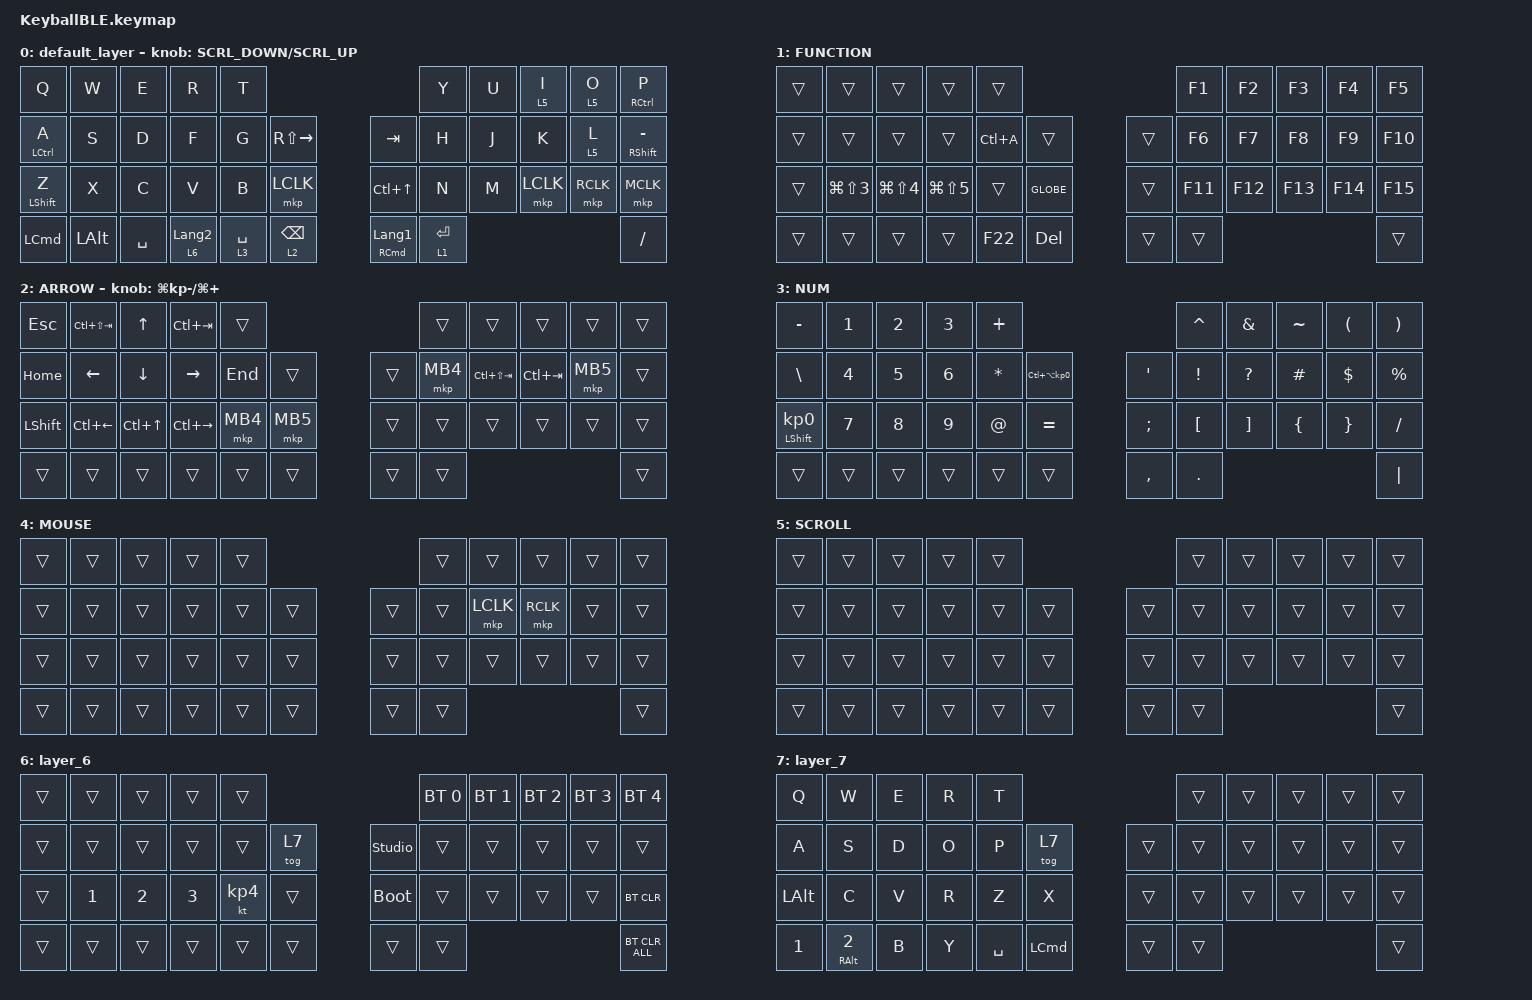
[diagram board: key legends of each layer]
#define ZMK_POINTING_DEFAULT_SCRL_VAL 120    // default: 10

#include <behaviors.dtsi>
#include <dt-bindings/zmk/bt.h>
#include <dt-bindings/zmk/keys.h>
#include <dt-bindings/zmk/pointing.h>

#define MOUSE 4
#define SCROLL 5
#define NUM 6

&mt {
    flavor = "balanced";
    quick-tap-ms = <0>;
    tapping-term-ms = <300>;
};

/ {
    combos {
        compatible = "zmk,combos";

        double_quotation {
            bindings = <&kp DOUBLE_QUOTES>;
            key-positions = <20 21>;
        };

        mouse {
            bindings = <&tog 4>;
            key-positions = <18 19>;
        };
    };

    macros {
        to_layer_0: to_layer_0 {
            compatible = "zmk,behavior-macro-one-param";
            #binding-cells = <1>;
            bindings = <&to 0 &macro_param_1to1 &kp MACRO_PLACEHOLDER>;
            label = "TO_LAYER_0";
        };
    };

    behaviors {
        lt_to_layer_0: lt_to_layer_0 {
            compatible = "zmk,behavior-hold-tap";
            label = "LAYER_TAP_TO_0";
            bindings = <&mo>, <&to_layer_0>;

            #binding-cells = <2>;
            tapping-term-ms = <200>;
        };

        ROTATE: ROTATE {
            compatible = "zmk,behavior-sensor-rotate-var";
            label = "ROTATE";
            #sensor-binding-cells = <2>;
            bindings = <&msc>, <&msc>;

            tap-ms = <20>;
        };
    };

    keymap {
        compatible = "zmk,keymap";

        default_layer {
            bindings = <
&kp Q               &kp W         &kp E      &kp R                        &kp T                                                                      &kp Y        &kp U  &lt 5 I    &lt 5 O    &mt RIGHT_CONTROL P
&mt LEFT_CONTROL A  &kp S         &kp D      &kp F                        &kp G        &kp RS(RIGHT)                   &kp TAB                       &kp H        &kp J  &kp K      &lt 5 L    &mt RIGHT_SHIFT MINUS
&mt LEFT_SHIFT Z    &kp X         &kp C      &kp V                        &kp B        &mkp LCLK                       &kp LC(UP_ARROW)              &kp N        &kp M  &mkp LCLK  &mkp RCLK  &mkp MCLK
&kp LEFT_COMMAND    &kp LEFT_ALT  &kp SPACE  &lt_to_layer_0 6 LANGUAGE_2  &lt 3 SPACE  &lt_to_layer_0 2 BACKSPACE      &mt RIGHT_COMMAND LANGUAGE_1  &lt 1 ENTER                               &kp SLASH
            >;

            sensor-bindings = <&ROTATE SCRL_DOWN SCRL_UP>;
        };

        FUNCTION {
            bindings = <
&trans  &trans                &trans                &trans          &trans                            &kp F1   &kp F2   &kp F3   &kp F4   &kp F5
&trans  &trans                &trans                &trans          &kp LC(A)  &trans         &trans  &kp F6   &kp F7   &kp F8   &kp F9   &kp F10
&trans  &kp LG(LS(NUMBER_3))  &kp LG(LS(NUMBER_4))  &kp LG(LS(N5))  &trans     &kp GLOBE      &trans  &kp F11  &kp F12  &kp F13  &kp F14  &kp F15
&trans  &trans                &trans                &trans          &kp F22    &kp DEL        &trans  &trans                              &trans
            >;
        };

        ARROW {
            bindings = <
&kp ESCAPE      &kp LC(LS(TAB))  &kp UP_ARROW      &kp LC(TAB)      &trans                          &trans    &trans           &trans       &trans    &trans
&kp HOME        &kp LEFT_ARROW   &kp DOWN_ARROW    &kp RIGHT_ARROW  &kp END   &trans        &trans  &mkp MB4  &kp LC(LS(TAB))  &kp LC(TAB)  &mkp MB5  &trans
&kp LEFT_SHIFT  &kp LC(LEFT)     &kp LC(UP_ARROW)  &kp LC(RIGHT)    &mkp MB4  &mkp MB5      &trans  &trans    &trans           &trans       &trans    &trans
&trans          &trans           &trans            &trans           &trans    &trans        &trans  &trans                                            &trans
            >;

            sensor-bindings = <&inc_dec_kp LG(KP_MINUS) LG(PLUS)>;
        };

        NUM {
            bindings = <
&kp MINUS                   &kp NUMBER_1  &kp NUMBER_2  &kp NUMBER_3  &kp PLUS                                                  &kp CARET         &kp AMPERSAND      &kp TILDE       &kp LEFT_PARENTHESIS  &kp RIGHT_PARENTHESIS
&kp BACKSLASH               &kp NUMBER_4  &kp N5        &kp NUMBER_6  &kp ASTERISK  &kp LC(LA(KP_NUMBER_0))      &kp SQT        &kp EXCLAMATION   &kp QUESTION       &kp HASH        &kp DOLLAR            &kp PERCENT
&mt LEFT_SHIFT KP_NUMBER_0  &kp N7        &kp N8        &kp N9        &kp AT_SIGN   &kp EQUAL                    &kp SEMICOLON  &kp LEFT_BRACKET  &kp RIGHT_BRACKET  &kp LEFT_BRACE  &kp RIGHT_BRACE       &kp SLASH
&trans                      &trans        &trans        &trans        &trans        &trans                       &kp COMMA      &kp PERIOD                                                                 &kp PIPE
            >;
        };

        MOUSE {
            bindings = <
&trans  &trans  &trans  &trans  &trans                      &trans  &trans     &trans     &trans  &trans
&trans  &trans  &trans  &trans  &trans  &trans      &trans  &trans  &mkp LCLK  &mkp RCLK  &trans  &trans
&trans  &trans  &trans  &trans  &trans  &trans      &trans  &trans  &trans     &trans     &trans  &trans
&trans  &trans  &trans  &trans  &trans  &trans      &trans  &trans                                &trans
            >;
        };

        SCROLL {
            bindings = <
&trans  &trans  &trans  &trans  &trans                      &trans  &trans  &trans  &trans  &trans
&trans  &trans  &trans  &trans  &trans  &trans      &trans  &trans  &trans  &trans  &trans  &trans
&trans  &trans  &trans  &trans  &trans  &trans      &trans  &trans  &trans  &trans  &trans  &trans
&trans  &trans  &trans  &trans  &trans  &trans      &trans  &trans                          &trans
            >;
        };

        layer_6 {
            bindings = <
&trans  &trans        &trans        &trans        &trans                                 &bt BT_SEL 0  &bt BT_SEL 1  &bt BT_SEL 2  &bt BT_SEL 3  &bt BT_SEL 4
&trans  &trans        &trans        &trans        &trans     &tog 7      &studio_unlock  &trans        &trans        &trans        &trans        &trans
&trans  &kp NUMBER_1  &kp NUMBER_2  &kp NUMBER_3  &kt KP_N4  &trans      &bootloader     &trans        &trans        &trans        &trans        &bt BT_CLR
&trans  &trans        &trans        &trans        &trans     &trans      &trans          &trans                                                  &bt BT_CLR_ALL
            >;
        };

        layer_7 {
            bindings = <
&kp Q         &kp W              &kp E  &kp R  &kp T                                    &trans  &trans  &trans  &trans  &trans
&kp A         &kp S              &kp D  &kp O  &kp P      &tog 7                &trans  &trans  &trans  &trans  &trans  &trans
&kp LEFT_ALT  &kp C              &kp V  &kp R  &kp Z      &kp X                 &trans  &trans  &trans  &trans  &trans  &trans
&kp NUMBER_1  &mt RALT NUMBER_2  &kp B  &kp Y  &kp SPACE  &kp LEFT_COMMAND      &trans  &trans                          &trans
            >;
        };
    };
};
